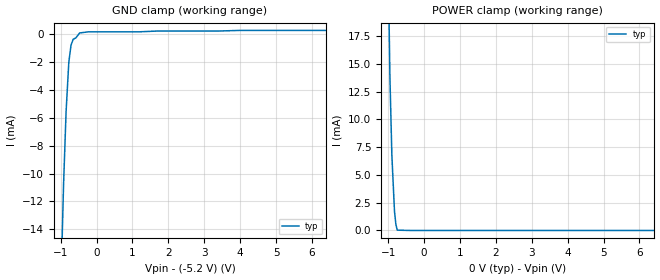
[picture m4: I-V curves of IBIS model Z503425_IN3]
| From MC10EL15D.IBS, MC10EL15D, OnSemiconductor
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| (C) COPYRIGHT 1993-2000
| MENTOR GRAPHICS CORPORATION
| ICX STANDARD LIBRARY, ICX PROJECT MODELING,
| ICX CUSTOM MODELING, ICX VENDOR MODEL
| ALL RIGHTS RESERVED.
| THE FOLLOWING ARE TRADEMARKS OR SERVICE MARKS OF
| MENTOR GRAPHICS CORPORATION:ICX (R), ICX STANDARD
| LIBRARY(R), ICX PROJECT MODELING(R), ICX CUSTOM
| MODELING(R), qualityIBIS(TM), MODELVIEWER(TM),
| AND MODELEDITOR(TM)
| ALL COPIES OF SOFTWARE, INCLUDING BUT NOT LIMITED TO
| ANY MODIFICATIONS, ENHANCEMENTS OR DERIVATIVE WORKS,
| MUST CONTAIN ALL MENTOR GRAPHICS CORPORATION'S
| NOTICES AND LEGENDS, INCLUDING THOSE EMBEDDED IN
| SOFTWARE AND THOSE AFFIXED TO SOFTWARE MEDIUM
| AND CONTAINER, AS RECEIVED FROM MENTOR GRAPHICS
| CORPORATION.
| Model Application Version 1.89 2/18/99.
[Model] Z503425_IN3
Model_type Input_ECL
Vinl = -1.480V
Vinh = -1.130V
C_comp 4.000pF NA NA
| variable typ   min   max
[Voltage Range] -5.200V NA NA
[GND Clamp Reference] -5.200V NA NA
[POWER Clamp Reference] 0.000V NA NA
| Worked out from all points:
|   GND clamp passes 1 mA (typ) near -0.72 V on its own axis
|   POWER clamp passes 1 mA (typ) near -0.80 V on its own axis
[GND Clamp]
-5.2V     -584.2mA   NA         NA
-1.048V   -23.39mA   NA         NA
-921mV    -10.85mA   NA         NA
-850mV    -5.549mA   NA         NA
-774mV    -2mA       NA         NA
-713mV    -784.7uA   NA         NA
-654mV    -355.4uA   NA         NA
-576mV    -246uA     NA         NA
-474mV    101.5uA    NA         NA
-237mV    183uA      NA         NA
3.97V     285uA      NA         NA
10.4V     285uA      NA         NA
[POWER Clamp]
-5.2V     1.62A      NA         NA
-1.523V   238mA      NA         NA
-1.221V   95.5mA     NA         NA
-1.111V   52.91mA    NA         NA
-1.032V   30.91mA    NA         NA
-952.2mV  13.84mA    NA         NA
-898.4mV  6.813mA    NA         NA
-825.1mV  1.736mA    NA         NA
-786.1mV  541.9uA    NA         NA
-747.7mV  29.4uA     NA         NA
-373.8mV  0A         NA         NA
10.4V     0A         NA         NA
